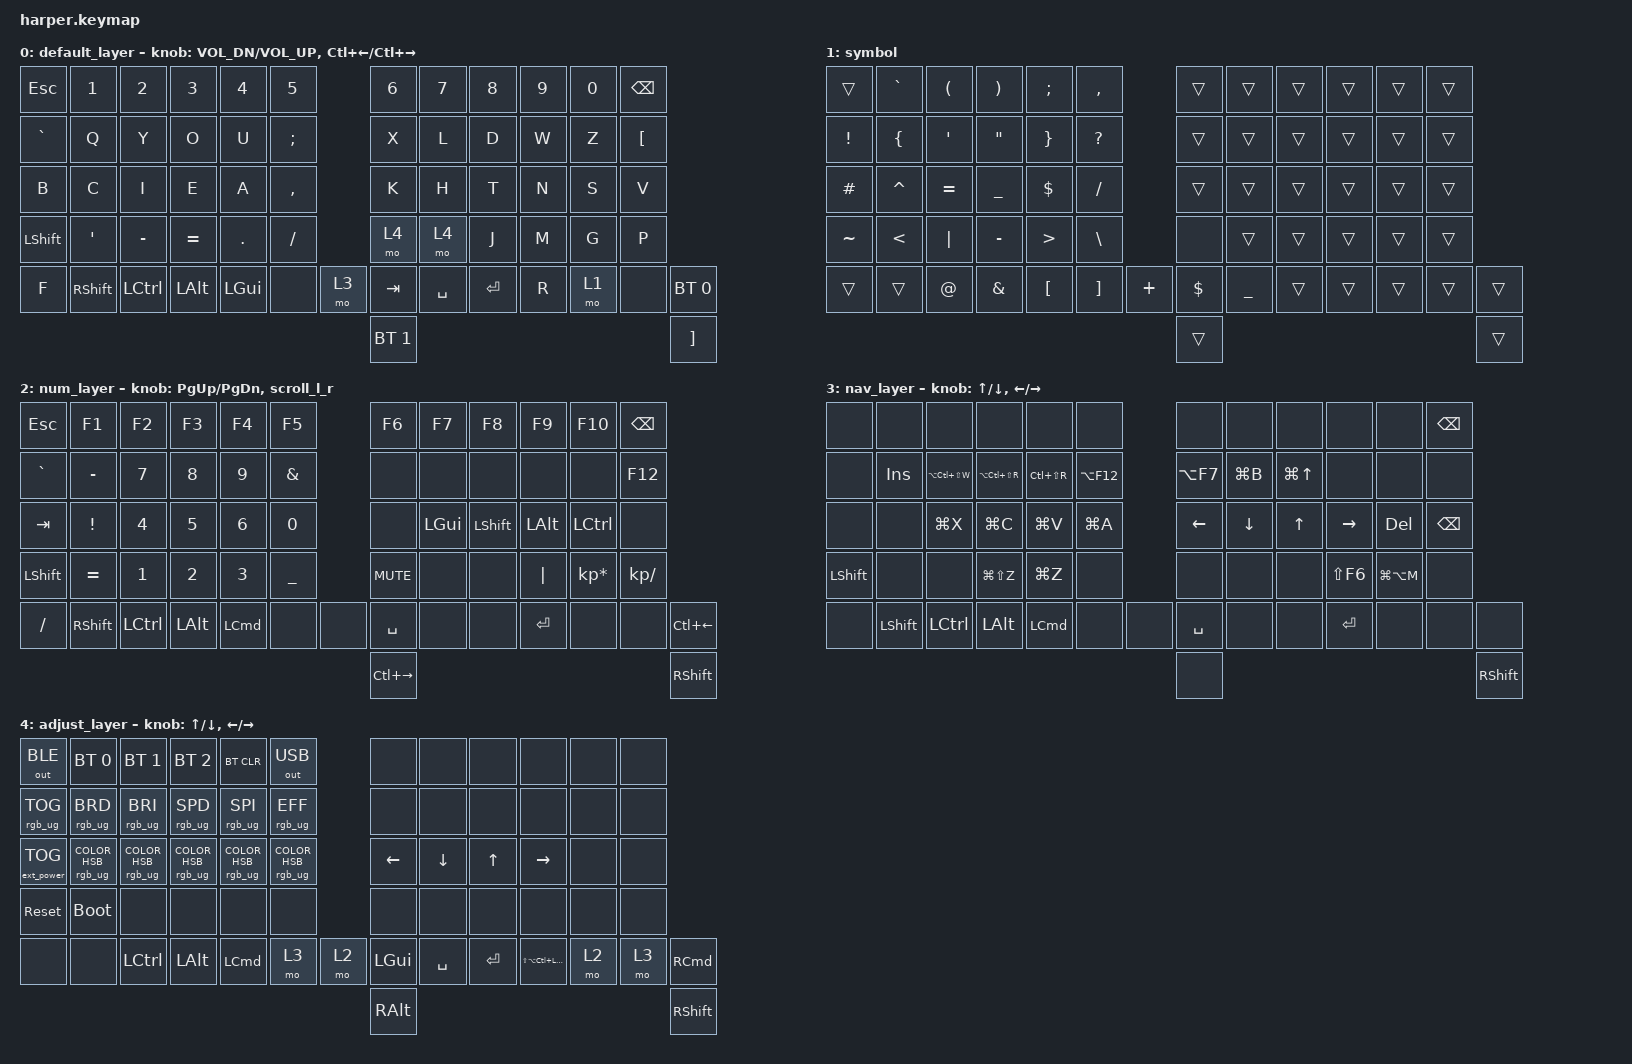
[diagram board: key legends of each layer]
#undef ZMK_BEHAVIORS_KEEP_ALL

#define ZMK_BEHAVIORS_KEEP_IND
#define ZMK_BEHAVIORS_KEEP_BT
#define ZMK_BEHAVIORS_KEEP_GRESC
#define ZMK_BEHAVIORS_KEEP_SYS_RESET
#define ZMK_BEHAVIORS_KEEP_BOOTLOADER
#define ZMK_BEHAVIORS_KEEP_CAPS_WORD
#define ZMK_BEHAVIORS_KEEP_KEY_REPEAT
#define ZMK_BEHAVIORS_KEEP_KT
#define ZMK_BEHAVIORS_KEEP_LT
#define ZMK_BEHAVIORS_KEEP_MT
#define ZMK_BEHAVIORS_KEEP_SK
#define ZMK_BEHAVIORS_KEEP_STICKY_LAYER
#define ZMK_BEHAVIORS_KEEP_TO
#define ZMK_BEHAVIORS_KEEP_TOG
#define ZMK_BEHAVIORS_KEEP_TRANS

#include <dt-bindings/zmk/indicators.h>
#include <behaviors.dtsi>
#include <dt-bindings/zmk/bt.h>
#include <dt-bindings/zmk/ext_power.h>
#include <dt-bindings/zmk/keys.h>
#include <dt-bindings/zmk/outputs.h>
#include <dt-bindings/zmk/rgb.h>

#define DEF 0
#define LWR 1
#define RSE 2
#define ADJ 3

&lt { quick_tap_ms = <200>; };

&mt { quick_tap_ms = <200>; };

/ {
    combos {
        compatible = "zmk,combos";

        TabJumpLeft {
            bindings = <&kp LS(LG(LEFT_BRACKET))>;
            key-positions = <45 46>;
        };

        TabJumpRight {
            bindings = <&kp LS(LG(RIGHT_BRACKET))>;
            key-positions = <46 47>;
        };

        WorkspaceJumpLeft {
            bindings = <&kp LC(LEFT)>;
            key-positions = <17 16>;
        };

        WorkspaceJumpRight {
            bindings = <&kp LC(RIGHT)>;
            key-positions = <28 29>;
        };

        LeftArrow {
            bindings = <&kp LEFT>;
            key-positions = <38 39>;
        };

        RightArrow {
            bindings = <&kp RIGHT>;
            key-positions = <39 40>;
        };

        UpArrow {
            bindings = <&kp UP_ARROW>;
            key-positions = <19 20>;
        };

        DownArrow {
            bindings = <&kp DOWN_ARROW>;
            key-positions = <21 20>;
        };

        HomerowAndAppJump {
            bindings = <&kp LS(LA(LC(LEFT_GUI)))>;
            key-positions = <31 32 33>;
        };

        ActivateScrollHomerow {
            bindings = <&kp LS(LG(J))>;
            key-positions = <28 26 27>;
        };

        Ampersand {
            bindings = <&kp AMPS>;
            key-positions = <45 44>;
        };

        Pipe {
            bindings = <&kp PIPE>;
            key-positions = <33 34>;
        };

        DollarSign {
            bindings = <&kp DOLLAR>;
            key-positions = <21 22>;
        };

        CmdRight {
            bindings = <&kp LEFT_GUI>;
            key-positions = <32 33 34>;
        };
    };

    keymap {
        compatible = "zmk,keymap";

        default_layer {
            bindings = <
&kp ESCAPE  &kp N1           &kp N2     &kp N3        &kp N4        &kp N5            &kp N6        &kp N7     &kp N8     &kp N9  &kp N0  &kp BACKSPACE
&kp GRAVE   &kp Q            &kp Y      &kp O         &kp U         &kp SEMI          &kp X         &kp L      &kp D      &kp W   &kp Z   &kp LEFT_BRACKET
&kp B       &kp C            &kp I      &kp E         &kp A         &kp COMMA         &kp K         &kp H      &kp T      &kp N   &kp S   &kp V
&kp LSHFT   &kp APOS         &kp MINUS  &kp EQUAL     &kp DOT       &kp SLASH         &mo 4         &mo 4      &kp J      &kp M   &kp G   &kp P
&kp F       &kp RIGHT_SHIFT  &kp LCTRL  &kp LEFT_ALT  &kp LEFT_GUI  &none      &mo 3  &kp TAB       &kp SPACE  &kp ENTER  &kp R   &mo 1   &none             &bt BT_SEL 0
                                                                                      &bt BT_SEL 1                                                          &kp RIGHT_BRACKET
            >;

            sensor-bindings =
                <&inc_dec_kp C_VOL_DN C_VOL_UP>,
                <&inc_dec_kp LC(LEFT_ARROW) LC(RIGHT)>;
        };

        symbol {
            bindings = <
&trans           &kp GRAVE       &kp LEFT_PARENTHESIS  &kp RIGHT_PARENTHESIS  &kp SEMI          &kp COMMA                &trans      &trans     &trans  &trans  &trans  &trans
&kp EXCLAMATION  &kp LEFT_BRACE  &kp APOSTROPHE        &kp DOUBLE_QUOTES      &kp RIGHT_BRACE   &kp QUESTION             &trans      &trans     &trans  &trans  &trans  &trans
&kp HASH         &kp CARET       &kp EQUAL             &kp UNDERSCORE         &kp DOLLAR        &kp SLASH                &trans      &trans     &trans  &trans  &trans  &trans
&kp TILDE        &kp LESS_THAN   &kp PIPE              &kp MINUS              &kp GREATER_THAN  &kp BACKSLASH            &none       &trans     &trans  &trans  &trans  &trans
&trans           &trans          &kp AT_SIGN           &kp AMPERSAND          &kp LBKT          &kp RBKT       &kp PLUS  &kp DOLLAR  &kp UNDER  &trans  &trans  &trans  &trans  &trans
                                                                                                                         &trans                                                 &trans
            >;
        };

        num_layer {
            bindings = <
&kp ESCAPE  &kp F1     &kp F2        &kp F3        &kp F4            &kp F5                &kp F6         &kp F7        &kp F8          &kp F9        &kp F10          &kp BACKSPACE
&kp GRAVE   &kp MINUS  &kp NUMBER_7  &kp NUMBER_8  &kp NUMBER_9      &kp AMPERSAND         &none          &none         &none           &none         &none            &kp F12
&kp TAB     &kp EXCL   &kp NUMBER_4  &kp N5        &kp NUMBER_6      &kp NUMBER_0          &none          &kp LEFT_GUI  &kp LEFT_SHIFT  &kp LEFT_ALT  &kp LCTRL        &none
&kp LSHFT   &kp EQUAL  &kp NUMBER_1  &kp NUMBER_2  &kp NUMBER_3      &kp UNDER             &kp C_MUTE     &none         &none           &kp PIPE      &kp KP_MULTIPLY  &kp KP_DIVIDE
&kp SLASH   &kp RSHFT  &kp LCTRL     &kp LEFT_ALT  &kp LEFT_COMMAND  &none          &none  &kp SPACE      &none         &none           &kp ENTER     &none            &none          &kp LC(LEFT)
                                                                                           &kp LC(RIGHT)                                                                              &kp RIGHT_SHIFT
            >;

            sensor-bindings = <&inc_dec_kp PG_UP PG_DN &scroll_l_r>;
        };

        nav_layer {
            bindings = <
&none       &none           &none              &none              &none             &none               &none           &none      &none             &none       &none          &kp BACKSPACE
&none       &kp INS         &kp LA(LC(LS(W)))  &kp LA(LC(LS(R)))  &kp LC(LS(R))     &kp LA(F12)         &kp LA(F7)      &kp LG(B)  &kp LG(UP_ARROW)  &none       &none          &none
&none       &none           &kp LG(X)          &kp LG(C)          &kp LG(V)         &kp LG(A)           &kp LEFT_ARROW  &kp DOWN   &kp UP_ARROW      &kp RIGHT   &kp DEL        &kp BSPC
&kp LSHIFT  &none           &none              &kp LG(LS(Z))      &kp LG(Z)         &none               &none           &none      &none             &kp LS(F6)  &kp LG(LA(M))  &none
&none       &kp LEFT_SHIFT  &kp LCTRL          &kp LEFT_ALT       &kp LEFT_COMMAND  &none        &none  &kp SPACE       &none      &none             &kp ENTER   &none          &none          &none
                                                                                                        &none                                                                                  &kp RIGHT_SHIFT
            >;

            sensor-bindings = <&inc_dec_kp UP_ARROW DOWN_ARROW &inc_dec_kp LEFT_ARROW RIGHT_ARROW>;
        };

        adjust_layer {
            bindings = <
&out OUT_BLE       &bt BT_SEL 0                     &bt BT_SEL 1                       &bt BT_SEL 2                      &bt BT_CLR                       &out OUT_USB                             &none           &none      &none         &none                     &none  &none
&rgb_ug RGB_TOG    &rgb_ug RGB_BRD                  &rgb_ug RGB_BRI                    &rgb_ug RGB_SPD                   &rgb_ug RGB_SPI                  &rgb_ug RGB_EFF                          &none           &none      &none         &none                     &none  &none
&ext_power EP_TOG  &rgb_ug RGB_COLOR_HSB(0,100,50)  &rgb_ug RGB_COLOR_HSB(218,100,50)  &rgb_ug RGB_COLOR_HSB(120,97,50)  &rgb_ug RGB_COLOR_HSB(60,0,100)  &rgb_ug RGB_COLOR_HSB(64,100,52)         &kp LEFT_ARROW  &kp DOWN   &kp UP_ARROW  &kp RIGHT                 &none  &none
&sys_reset         &bootloader                      &none                              &none                             &none                            &none                                    &none           &none      &none         &none                     &none  &none
&none              &none                            &kp LCTRL                          &kp LEFT_ALT                      &kp LCMD                         &mo 3                             &mo 2  &kp LEFT_GUI    &kp SPACE  &kp ENTER     &kp LS(LA(LC(LEFT_GUI)))  &mo 2  &mo 3  &kp RCMD
                                                                                                                                                                                                   &kp RIGHT_ALT                                                                    &kp RIGHT_SHIFT
            >;

            sensor-bindings = <&inc_dec_kp UP_ARROW DOWN_ARROW &inc_dec_kp LEFT_ARROW RIGHT_ARROW>;
        };

        extra1 { status = "reserved"; };

        extra2 { status = "reserved"; };

        extra3 { status = "reserved"; };

        extra4 { status = "reserved"; };
    };
};
